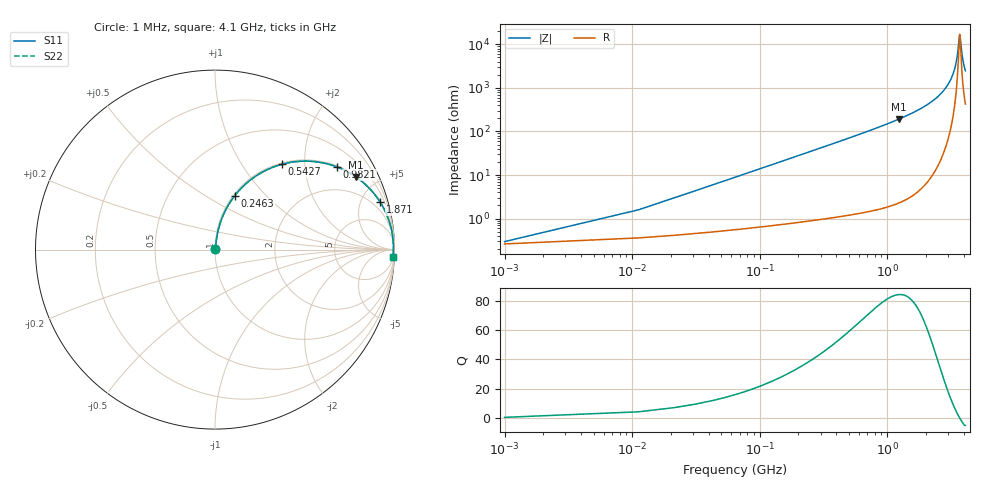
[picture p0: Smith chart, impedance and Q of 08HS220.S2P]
! Coilcraft 0805HS-220 Chip Inductor
! 13 June 2002
# MHZ S MA R 50
!Freq  MagS11  AngS11  MagS21  AngS21  MagS12  AngS12  MagS22  AngS22
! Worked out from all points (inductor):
!   403 points, 1 MHz to 4.1 GHz, reference 50 ohm
!   read as one part in series: L = 22 nH near 21.44 MHz
!   highest Q = 84.3 at 1.238 GHz (marker M1), where L = 24.8 nH
!   self-resonance near 3.701 GHz
!   S11 on the Smith chart (normalised r, x): 1 MHz: 1.01, +0.00; 246.3 MHz: 1.02, +0.68; 542.7 MHz: 1.02, +1.53; 982.1 MHz: 1.04, +2.92; 1.871 GHz: 1.10, +6.95; 4.1 GHz: 9, -49
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1  0.002952 27.8  0.9974 -0.1  0.9974 -0.1  0.002952 27.8
31.66  0.04376 81.6  0.9945 -2.5  0.9945 -2.5  0.04376 81.6
62.32  0.08556 81.5  0.9909 -4.9  0.9909 -4.9  0.08556 81.5
133.86  0.1811 77.4  0.9766 -10.4  0.9766 -10.4  0.1811 77.4
246.28  0.3211 69.8  0.9388 -18.7  0.9388 -18.7  0.3211 69.8
542.66  0.6037 51.9  0.7875 -37.1  0.7875 -37.1  0.6037 51.9
685.74  0.6956 45.1  0.7086 -44.1  0.7086 -44.1  0.6956 45.1
982.12  0.8204 34.2  0.5617 -55.1  0.5617 -55.1  0.8204 34.2
1237.62  0.8832 27.3  0.4586 -62.0  0.4586 -62.0  0.8832 27.3
1370.48  0.906 24.4  0.4127 -64.9  0.4127 -64.9  0.906 24.4
1871.26  0.9573 16.0  0.2756 -73.2  0.2756 -73.2  0.9573 16.0
2055.22  0.9679 13.6  0.2358 -75.4  0.2358 -75.4  0.9679 13.6
2739.96  0.9888 6.8  0.1182 -81.2  0.1182 -81.2  0.9888 6.8
3148.76  0.9932 3.6  0.06338 -82.0  0.06338 -82.0  0.9932 3.6
3424.7  0.9942 1.7  0.03086 -78.4  0.03086 -78.4  0.9942 1.7
3547.34  0.9943 1.0  0.01762 -70.7  0.01762 -70.7  0.9943 1.0
3669.98  0.9942 0.2  0.006804 -31.0  0.006804 -31.0  0.9942 0.2
3700.64  0.9941 0.0  0.005898 -2.8  0.005898 -2.8  0.9941 0.0
3731.3  0.994 -0.2  0.006632 25.9  0.006632 25.9  0.994 -0.2
3823.28  0.9937 -0.7  0.01381 62.7  0.01381 62.7  0.9937 -0.7
3894.82  0.9935 -1.1  0.02055 70.9  0.02055 70.9  0.9935 -1.1
4100  0.9924 -2.3  0.04007 77.9  0.04007 77.9  0.9924 -2.3
